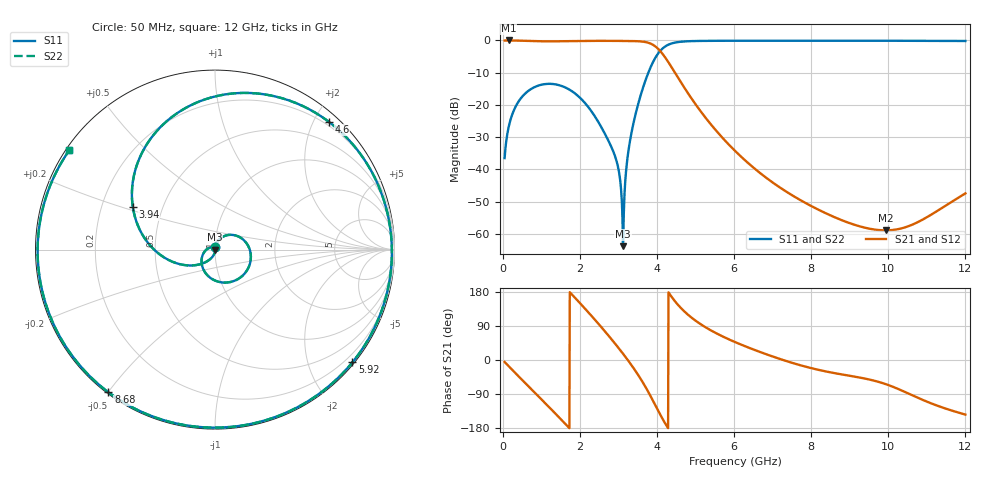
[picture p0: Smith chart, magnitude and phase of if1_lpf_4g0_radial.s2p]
! kicad2ems mom25d 2.5D MoM (lpf)
! ports: 1=P1, 2=P2
# Hz S RI R 50
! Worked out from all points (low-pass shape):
!   1196 points, 50 MHz to 12 GHz, reference 50 ohm
!   highest |S21| = 0.01 dB at 160 MHz (marker M1); lowest = -58.9 dB at 9.93 GHz (marker M2)
!   |S21| within 3 dB of the highest: start of sweep to 4.064 GHz
!   lowest |S11| = -63.9 dB at 3.12 GHz (marker M3), VSWR 1.00, Z = 49.9 + j0.0079 ohm
!   |S11| at or under -10 dB: start of sweep to 3.777 GHz
!   |S22| runs from -64.1 to -0.1 dB; largest |S21 - S12| = 0
!   S11 on the Smith chart (normalised r, x): 50 MHz: 1.00, +0.03; 3.94 GHz: 0.34, +0.22; 4.6 GHz: 0.14, +2.22; 5.92 GHz: 0.04, -2.80; 8.68 GHz: 0.00, -0.50; 12 GHz: 0.01, +0.31
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5e7  0.00189 0.0148  0.995 -0.0915  0.995 -0.0915  0.00189 0.0148
1.6e8  0.0141 0.0446  0.9583 -0.2902  0.9583 -0.2902  0.0141 0.0446
1.01e9  0.1995 -0.052  -0.2418 -0.9418  -0.2418 -0.9418  0.1995 -0.052
1.57e9  0.0574 -0.1838  -0.9302 -0.2883  -0.9302 -0.2883  0.0574 -0.1838
2.05e9  -0.0689 -0.1  -0.8055 0.5632  -0.8055 0.5632  -0.0689 -0.1
2.59e9  -0.0414 0.00463  0.1208 0.9804  0.1208 0.9804  -0.0414 0.00469
2.96e9  -0.00811 0.0102  0.7824 0.5999  0.7824 0.5999  -0.00809 0.0102
3.12e9  -0.000637 7.91e-05  0.9427 0.2825  0.9427 0.2825  -0.000617 9.86e-05
3.38e9  -0.0182 -0.0448  0.924 -0.3247  0.924 -0.3247  -0.0183 -0.0447
3.7e9  -0.2263 -0.072  0.3167 -0.8919  0.3167 -0.8919  -0.2263 -0.0719
3.94e9  -0.4577 0.2357  -0.3577 -0.7437  -0.3577 -0.7437  -0.4576 0.2359
4.04e9  -0.4374 0.4653  -0.5215 -0.5158  -0.5215 -0.5158  -0.4372 0.4655
4.3e9  0.0403 0.8617  -0.4573 0.0111  -0.4573 0.0111  0.0406 0.8617
4.6e9  0.6343 0.712  -0.1795 0.1531  -0.1795 0.1531  0.6345 0.7118
5.12e9  0.982 0.0698  -0.00776 0.0814  -0.00776 0.0814  0.982 0.0696
5.92e9  0.766 -0.6276  0.0138 0.0177  0.0138 0.0177  0.7658 -0.6277
6.03e9  0.7112 -0.6893  0.0131 0.0141  0.0131 0.0141  0.7111 -0.6895
8.02e9  -0.33 -0.9358  0.00247 -0.000992  0.00247 -0.000992  -0.3302 -0.9357
8.68e9  -0.5938 -0.7948  0.0014 -0.00102  0.0014 -0.00102  -0.594 -0.7947
9.93e9  -0.9193 -0.3688  0.000503 -0.00101  0.000503 -0.00101  -0.9194 -0.3685
1.001e10  -0.9315 -0.3362  0.000453 -0.00104  0.000453 -0.00104  -0.9316 -0.336
1.2e10  -0.8126 0.5523  -0.00342 -0.00249  -0.00342 -0.00249  -0.8124 0.5526
